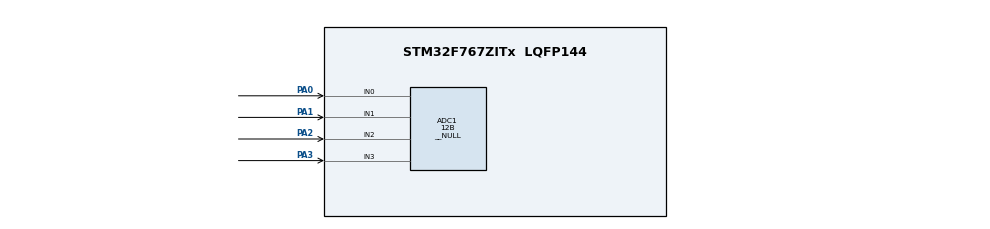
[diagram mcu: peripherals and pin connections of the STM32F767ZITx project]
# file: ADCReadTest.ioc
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ADC1.Channel-0\#ChannelRegularConversion=ADC_CHANNEL_0
ADC1.Channel-1\#ChannelRegularConversion=ADC_CHANNEL_1
ADC1.Channel-2\#ChannelRegularConversion=ADC_CHANNEL_2
ADC1.Channel-3\#ChannelRegularConversion=ADC_CHANNEL_3
ADC1.ClockPrescaler=ADC_CLOCK_SYNC_PCLK_DIV2
ADC1.ContinuousConvMode=ENABLE
ADC1.DMAContinuousRequests=ENABLE
ADC1.DataAlign=ADC_DATAALIGN_RIGHT
ADC1.DiscontinuousConvMode=DISABLE
ADC1.EOCSelection=ADC_EOC_SINGLE_CONV
ADC1.EnableAnalogWatchDog=false
ADC1.ExternalTrigConv=ADC_SOFTWARE_START
ADC1.ExternalTrigConvEdge=ADC_EXTERNALTRIGCONVEDGE_NONE
ADC1.InjNumberOfConversion=0
ADC1.Mode=__NULL
ADC1.NbrOfConversion=4
ADC1.NbrOfConversionFlag=1
ADC1.Rank-0\#ChannelRegularConversion=1
ADC1.Rank-1\#ChannelRegularConversion=2
ADC1.Rank-2\#ChannelRegularConversion=3
ADC1.Rank-3\#ChannelRegularConversion=4
ADC1.Resolution=ADC_RESOLUTION_12B
ADC1.SamplingTime-0\#ChannelRegularConversion=ADC_SAMPLETIME_3CYCLES
ADC1.SamplingTime-1\#ChannelRegularConversion=ADC_SAMPLETIME_3CYCLES
ADC1.SamplingTime-2\#ChannelRegularConversion=ADC_SAMPLETIME_3CYCLES
ADC1.SamplingTime-3\#ChannelRegularConversion=ADC_SAMPLETIME_3CYCLES
ADC1.ScanConvMode=ADC_SCAN_ENABLE
ADC1.master=1
Dma.ADC1.0.Direction=DMA_PERIPH_TO_MEMORY
Dma.ADC1.0.FIFOMode=DMA_FIFOMODE_DISABLE
Dma.ADC1.0.Instance=DMA2_Stream0
Dma.ADC1.0.MemDataAlignment=DMA_MDATAALIGN_HALFWORD
Dma.ADC1.0.MemInc=DMA_MINC_ENABLE
Dma.ADC1.0.Mode=DMA_CIRCULAR
Dma.ADC1.0.PeriphDataAlignment=DMA_PDATAALIGN_HALFWORD
Dma.ADC1.0.PeriphInc=DMA_PINC_DISABLE
Dma.ADC1.0.Priority=DMA_PRIORITY_LOW
Dma.Request0=ADC1
Mcu.Family=STM32F7
Mcu.Name=STM32F767ZITx
Mcu.Package=LQFP144
NVIC.DMA2_Stream0_IRQn=true\:0\:0\:false\:false\:true\:false
NVIC.PriorityGroup=NVIC_PRIORITYGROUP_4
PA0/WKUP.Signal=ADCx_IN0
PA1.Signal=ADCx_IN1
PA2.Signal=ADCx_IN2
PA3.Signal=ADCx_IN3
ProjectManager.HeapSize=0x200
ProjectManager.StackSize=0x400
ProjectManager.TargetToolchain=MDK-ARM V5
RCC.HSE_VALUE=25000000
RCC.HSI_VALUE=16000000
RCC.LSE_VALUE=32768
RCC.USBFreq_Value=96000000
RCC.VCOOutputFreq_Value=192000000
SH.ADCx_IN0.0=ADC1_IN0,IN0
SH.ADCx_IN1.0=ADC1_IN1,IN1
SH.ADCx_IN2.0=ADC1_IN2,IN2
SH.ADCx_IN3.0=ADC1_IN3,IN3
board=custom

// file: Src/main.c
/**
  ******************************************************************************
  * @file           : main.c
  * @brief          : Main program body
  ******************************************************************************
  ** This notice applies to any and all portions of this file
  * that are not between comment pairs USER CODE BEGIN and
  * USER CODE END. Other portions of this file, whether
  * inserted by the user or by software development tools
  * are owned by their respective copyright owners.
  *
  * COPYRIGHT(c) 2019 STMicroelectronics
  *
  * Redistribution and use in source and binary forms, with or without modification,
  * are permitted provided that the following conditions are met:
  *   1. Redistributions of source code must retain the above copyright notice,
  *      this list of conditions and the following disclaimer.
  *   2. Redistributions in binary form must reproduce the above copyright notice,
  *      this list of conditions and the following disclaimer in the documentation
  *      and/or other materials provided with the distribution.
  *   3. Neither the name of STMicroelectronics nor the names of its contributors
  *      may be used to endorse or promote products derived from this software
  *      without specific prior written permission.
  *
  * THIS SOFTWARE IS PROVIDED BY THE COPYRIGHT HOLDERS AND CONTRIBUTORS "AS IS"
  * AND ANY EXPRESS OR IMPLIED WARRANTIES, INCLUDING, BUT NOT LIMITED TO, THE
  * IMPLIED WARRANTIES OF MERCHANTABILITY AND FITNESS FOR A PARTICULAR PURPOSE ARE
  * DISCLAIMED. IN NO EVENT SHALL THE COPYRIGHT HOLDER OR CONTRIBUTORS BE LIABLE
  * FOR ANY DIRECT, INDIRECT, INCIDENTAL, SPECIAL, EXEMPLARY, OR CONSEQUENTIAL
  * DAMAGES (INCLUDING, BUT NOT LIMITED TO, PROCUREMENT OF SUBSTITUTE GOODS OR
  * SERVICES; LOSS OF USE, DATA, OR PROFITS; OR BUSINESS INTERRUPTION) HOWEVER
  * CAUSED AND ON ANY THEORY OF LIABILITY, WHETHER IN CONTRACT, STRICT LIABILITY,
  * OR TORT (INCLUDING NEGLIGENCE OR OTHERWISE) ARISING IN ANY WAY OUT OF THE USE
  * OF THIS SOFTWARE, EVEN IF ADVISED OF THE POSSIBILITY OF SUCH DAMAGE.
  *
  ******************************************************************************
  */
#include "main.h"
#include "stm32f7xx_hal.h"

/* USER CODE BEGIN Includes */
/* FPU present on STM32F4xx device */
/* Use ARM MATH for Cortex-M7 */
#include "arm_math.h"
/* Include mbed-dsp libraries */
#include "arm_const_structs.h"

/* USER CODE END Includes */

ADC_HandleTypeDef hadc1;
DMA_HandleTypeDef hdma_adc1;

/* USER CODE BEGIN PV */
/* Private variables ---------------------------------------------------------*/
const int DMA_BUFFER_LENGTH = 1024;
const int WORKING_BUFFER_LENGTH = DMA_BUFFER_LENGTH/2;
const int IM_BUFFER_LENGTH = DMA_BUFFER_LENGTH;
const int FFT_SIZE = DMA_BUFFER_LENGTH;
uint16_t ADC1ConvertedValues[DMA_BUFFER_LENGTH];
_Bool firstHalfFull = 0;
_Bool secondHalfFull = 0;
float32_t working_buffer[DMA_BUFFER_LENGTH/2];
float32_t input[IM_BUFFER_LENGTH];
float32_t output[FFT_SIZE];
int sum = 0;
int number = 0;
float maxValue;
uint32_t maxIndex;

uint32_t A0Val = 0;
uint32_t A1Val = 0;
uint32_t A2Val = 0;
uint32_t A3Val = 0;

/* USER CODE END PV */

void FFT();
void SystemClock_Config(void);
static void MX_GPIO_Init(void);
static void MX_DMA_Init(void);
static void MX_ADC1_Init(void);

/* USER CODE BEGIN PFP */
/* Private function prototypes -----------------------------------------------*/

/* USER CODE END PFP */

int main(void)
{
  /* USER CODE BEGIN 1 */
	//arm_cfft_instance_f32 S;

  /* USER CODE END 1 */

  /* MCU Configuration----------------------------------------------------------*/

  /* Reset of all peripherals, Initializes the Flash interface and the Systick. */
  HAL_Init();

  /* Configure the system clock */
  SystemClock_Config();

  /* Initialize all configured peripherals */
  MX_GPIO_Init();
  MX_DMA_Init();
  MX_ADC1_Init();
  /* USER CODE BEGIN 2 */
	//arm_cfft_radix4_instance_f32 S; /*ARM CFFT module*/

	if (HAL_ADC_Start(&hadc1) != HAL_OK)
	{
		return 0;
	}

	if (HAL_ADC_Start_DMA(&hadc1, (uint32_t*) ADC1ConvertedValues, 1024) != HAL_OK)
	{
		return 0;
	}
  /* USER CODE END 2 */

  /* Infinite loop */
  /* USER CODE BEGIN WHILE */
	while (1){
		if(firstHalfFull){
			for(int i=0; i<WORKING_BUFFER_LENGTH;i++){
				input[2*i] = ADC1ConvertedValues[i];
				input[2*i+1] = 0; //Imaginary part set to zero
			}

			FFT(input);

			firstHalfFull = 0;

			/* Initialize the CFFT/CIFFT module, intFlag = 0, doBitReverse = 1
			arm_cfft_radix4_init_f32(&S, DMA_BUFFER_LENGTH/2, 0, 1);

		  Process the data through the CFFT/CIFFT module
			arm_cfft_radix4_f32(&S, working_buffer);
			TODO: settt in resten fra stm32f4-discovery-guiden */
			}
		}
		/*
		if (HAL_ADC_PollForConversion(&hadc1, 1000000) == HAL_OK)
        {
            g_ADCValue = HAL_ADC_GetValue(&hadc1);
            g_MeasurementNumber++;
        }*/
  /* USER CODE END WHILE */

}

void SystemClock_Config(void)
{

  RCC_OscInitTypeDef RCC_OscInitStruct;
  RCC_ClkInitTypeDef RCC_ClkInitStruct;

    /**Configure the main internal regulator output voltage
    */
  __HAL_RCC_PWR_CLK_ENABLE();

  __HAL_PWR_VOLTAGESCALING_CONFIG(PWR_REGULATOR_VOLTAGE_SCALE3);

    /**Initializes the CPU, AHB and APB busses clocks
    */
  RCC_OscInitStruct.OscillatorType = RCC_OSCILLATORTYPE_HSI;
  RCC_OscInitStruct.HSIState = RCC_HSI_ON;
  RCC_OscInitStruct.HSICalibrationValue = 16;
  RCC_OscInitStruct.PLL.PLLState = RCC_PLL_NONE;
  if (HAL_RCC_OscConfig(&RCC_OscInitStruct) != HAL_OK)
  {
    _Error_Handler(__FILE__, __LINE__);
  }

    /**Initializes the CPU, AHB and APB busses clocks
    */
  RCC_ClkInitStruct.ClockType = RCC_CLOCKTYPE_HCLK|RCC_CLOCKTYPE_SYSCLK
                              |RCC_CLOCKTYPE_PCLK1|RCC_CLOCKTYPE_PCLK2;
  RCC_ClkInitStruct.SYSCLKSource = RCC_SYSCLKSOURCE_HSI;
  RCC_ClkInitStruct.AHBCLKDivider = RCC_SYSCLK_DIV1;
  RCC_ClkInitStruct.APB1CLKDivider = RCC_HCLK_DIV1;
  RCC_ClkInitStruct.APB2CLKDivider = RCC_HCLK_DIV1;

  if (HAL_RCC_ClockConfig(&RCC_ClkInitStruct, FLASH_LATENCY_0) != HAL_OK)
  {
    _Error_Handler(__FILE__, __LINE__);
  }

    /**Configure the Systick interrupt time
    */
  HAL_SYSTICK_Config(HAL_RCC_GetHCLKFreq()/1000);

    /**Configure the Systick
    */
  HAL_SYSTICK_CLKSourceConfig(SYSTICK_CLKSOURCE_HCLK);

  /* SysTick_IRQn interrupt configuration */
  HAL_NVIC_SetPriority(SysTick_IRQn, 0, 0);
}

/* ADC1 init function */
static void MX_ADC1_Init(void)
{

  ADC_ChannelConfTypeDef sConfig;

    /**Configure the global features of the ADC (Clock, Resolution, Data Alignment and number of conversion)
    */
  hadc1.Instance = ADC1;
  hadc1.Init.ClockPrescaler = ADC_CLOCK_SYNC_PCLK_DIV2;
  hadc1.Init.Resolution = ADC_RESOLUTION_12B;
  hadc1.Init.ScanConvMode = ADC_SCAN_ENABLE;
  hadc1.Init.ContinuousConvMode = ENABLE;
  hadc1.Init.DiscontinuousConvMode = DISABLE;
  hadc1.Init.ExternalTrigConvEdge = ADC_EXTERNALTRIGCONVEDGE_NONE;
  hadc1.Init.ExternalTrigConv = ADC_SOFTWARE_START;
  hadc1.Init.DataAlign = ADC_DATAALIGN_RIGHT;
  hadc1.Init.NbrOfConversion = 4;
  hadc1.Init.DMAContinuousRequests = ENABLE;
  hadc1.Init.EOCSelection = ADC_EOC_SINGLE_CONV;
  if (HAL_ADC_Init(&hadc1) != HAL_OK)
  {
    _Error_Handler(__FILE__, __LINE__);
  }

    /**Configure for the selected ADC regular channel its corresponding rank in the sequencer and its sample time.
    */
  sConfig.Channel = ADC_CHANNEL_0;
  sConfig.Rank = ADC_REGULAR_RANK_1;
  sConfig.SamplingTime = ADC_SAMPLETIME_3CYCLES;
  if (HAL_ADC_ConfigChannel(&hadc1, &sConfig) != HAL_OK)
  {
    _Error_Handler(__FILE__, __LINE__);
  }

    /**Configure for the selected ADC regular channel its corresponding rank in the sequencer and its sample time.
    */
  sConfig.Channel = ADC_CHANNEL_1;
  sConfig.Rank = ADC_REGULAR_RANK_2;
  if (HAL_ADC_ConfigChannel(&hadc1, &sConfig) != HAL_OK)
  {
    _Error_Handler(__FILE__, __LINE__);
  }

    /**Configure for the selected ADC regular channel its corresponding rank in the sequencer and its sample time.
    */
  sConfig.Channel = ADC_CHANNEL_2;
  sConfig.Rank = ADC_REGULAR_RANK_3;
  if (HAL_ADC_ConfigChannel(&hadc1, &sConfig) != HAL_OK)
  {
    _Error_Handler(__FILE__, __LINE__);
  }

    /**Configure for the selected ADC regular channel its corresponding rank in the sequencer and its sample time.
    */
  sConfig.Channel = ADC_CHANNEL_3;
  sConfig.Rank = ADC_REGULAR_RANK_4;
  if (HAL_ADC_ConfigChannel(&hadc1, &sConfig) != HAL_OK)
  {
    _Error_Handler(__FILE__, __LINE__);
  }

}

static void MX_DMA_Init(void)
{
  /* DMA controller clock enable */
  __HAL_RCC_DMA2_CLK_ENABLE();

  /* DMA interrupt init */
  /* DMA2_Stream0_IRQn interrupt configuration */
  HAL_NVIC_SetPriority(DMA2_Stream0_IRQn, 0, 0);
  HAL_NVIC_EnableIRQ(DMA2_Stream0_IRQn);

}

/** Pinout Configuration
*/
static void MX_GPIO_Init(void)
{

  /* GPIO Ports Clock Enable */
  __HAL_RCC_GPIOA_CLK_ENABLE();

}

/* USER CODE BEGIN 4 */
//Called when buffer is half full
void HAL_ADC_ConvHalfCpltCallback(ADC_HandleTypeDef* AdcHandle){
	firstHalfFull = 1;
	secondHalfFull = 0;
	A0Val = ADC1ConvertedValues[0];
	A1Val = ADC1ConvertedValues[1];
	A2Val = ADC1ConvertedValues[2];
	A3Val = ADC1ConvertedValues[3];
}

void HAL_ADC_ConvCpltCallback(ADC_HandleTypeDef* AdcHandle){
	secondHalfFull = 1;
	firstHalfFull = 0;
}

void FFT(){
		/* Initialize the Complex FFT module, intFlag = 0, doBitReverse = 1
		// NB using predefined arm_cfft_sR_f32_lenXXX, in this case XXX is 1024
		arm_cfft_f32(&arm_cfft_sR_f32_len1024, input, 0, 1);
		//Complex Magnitude Modules put results into output
		arm_cmplx_mag_f32(input, output, FFT_SIZE);
		// Calculates the maxValue and returns corresponding value
		arm_max_f32(output, FFT_SIZE, &maxValue, &maxIndex);*/

		arm_cfft_f32(&arm_cfft_sR_f32_len1024, input, 0, 1);
		arm_cmplx_mag_f32(input, output, FFT_SIZE);
		arm_cmplx_mag_f32(input, output, FFT_SIZE);
}

/*
void HAL_ADC_ConvHalfCpltCallback(ADC_HandleTypeDef* AdcHandle)
    {
        g_DmaOffsetBeforeAveragingH = ADC_BUFFER_LENGTH - DMA2_Stream4->NDTR;
        g_ADCValue = std::accumulate(g_ADCBuffer, g_ADCBuffer + ADC_BUFFER_LENGTH / 2, 0) / (ADC_BUFFER_LENGTH / 2);
        g_DmaOffsetAfterAveragingH = ADC_BUFFER_LENGTH - DMA2_Stream4->NDTR;
        g_MeasurementNumber += ADC_BUFFER_LENGTH;
    }
*/
/* USER CODE END 4 */

void _Error_Handler(char *file, int line)
{
  while(1)
  {
  }
}

/************************ (C) COPYRIGHT STMicroelectronics *****END OF FILE****/
